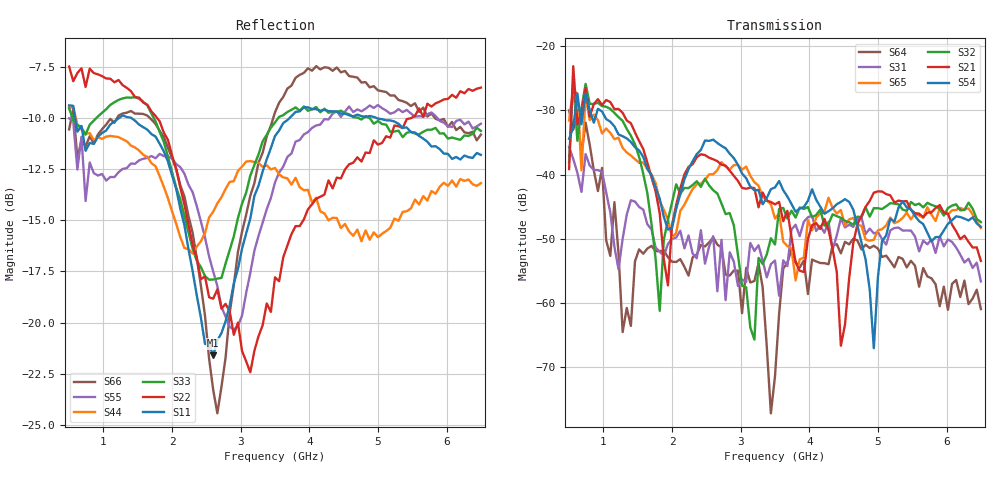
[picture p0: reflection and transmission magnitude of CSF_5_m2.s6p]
!Keysight Technologies,M9804A,MY58100912,A.14.10.03
!Date: Thursday, April 27, 2023 10:28:33
!Correction: S11(C  6-Port  )
!S12(C  6-Port  )
!S13(C  6-Port  )
!S14(C  6-Port  )
!S15(C  6-Port  )
!S16(C  6-Port  )
!S21(C  6-Port  )
!S22(C  6-Port  )
!S23(C  6-Port  )
!S24(C  6-Port  )
!S25(C  6-Port  )
!S26(C  6-Port  )
!S31(C  6-Port  )
!S32(C  6-Port  )
!S33(C  6-Port  )
!S34(C  6-Port  )
!S35(C  6-Port  )
!S36(C  6-Port  )
!S41(C  6-Port  )
!S42(C  6-Port  )
!S43(C  6-Port  )
!S44(C  6-Port  )
!S45(C  6-Port  )
!S46(C  6-Port  )
!S51(C  6-Port  )
!S52(C  6-Port  )
!S53(C  6-Port  )
!S54(C  6-Port  )
!S55(C  6-Port  )
!S56(C  6-Port  )
!S61(C  6-Port  )
!S62(C  6-Port  )
!S63(C  6-Port  )
!S64(C  6-Port  )
!S65(C  6-Port  )
!S66(C  6-Port  )
!S6P File: Measurement: :
# Hz S  RI  R 50
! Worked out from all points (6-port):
!   101 points, 500 MHz to 6.5 GHz, reference 50 ohm
!   strongest paths, dB at 500 MHz, 2 GHz, 3.5 GHz, 5 GHz, 6.5 GHz:
!     S54: -34.4, -48.3, -42.0, -55.9, -48.1
!     S21: -39.2, -47.8, -44.6, -42.6, -53.5
!     S32: -38.1, -44.3, -50.9, -45.2, -47.4
!     S65: -31.6, -49.8, -46.8, -48.7, -48.3
!     S31: -35.7, -50.0, -53.4, -49.0, -56.6
!     S64: -30.0, -53.6, -71.4, -51.5, -60.9
!   lowest |S11| = -21.6 dB at 2.6 GHz (marker M1), VSWR 1.18, Z = 42.6 + j2.07 ohm
!   |S11| at or under -10 dB: 587.7 MHz to 1.233 GHz (645.1 MHz wide, 70.9 % of centre); 1.402 GHz to 3.715 GHz (2.313 GHz wide, 90.4 % of centre); 4.971 GHz to end of sweep
